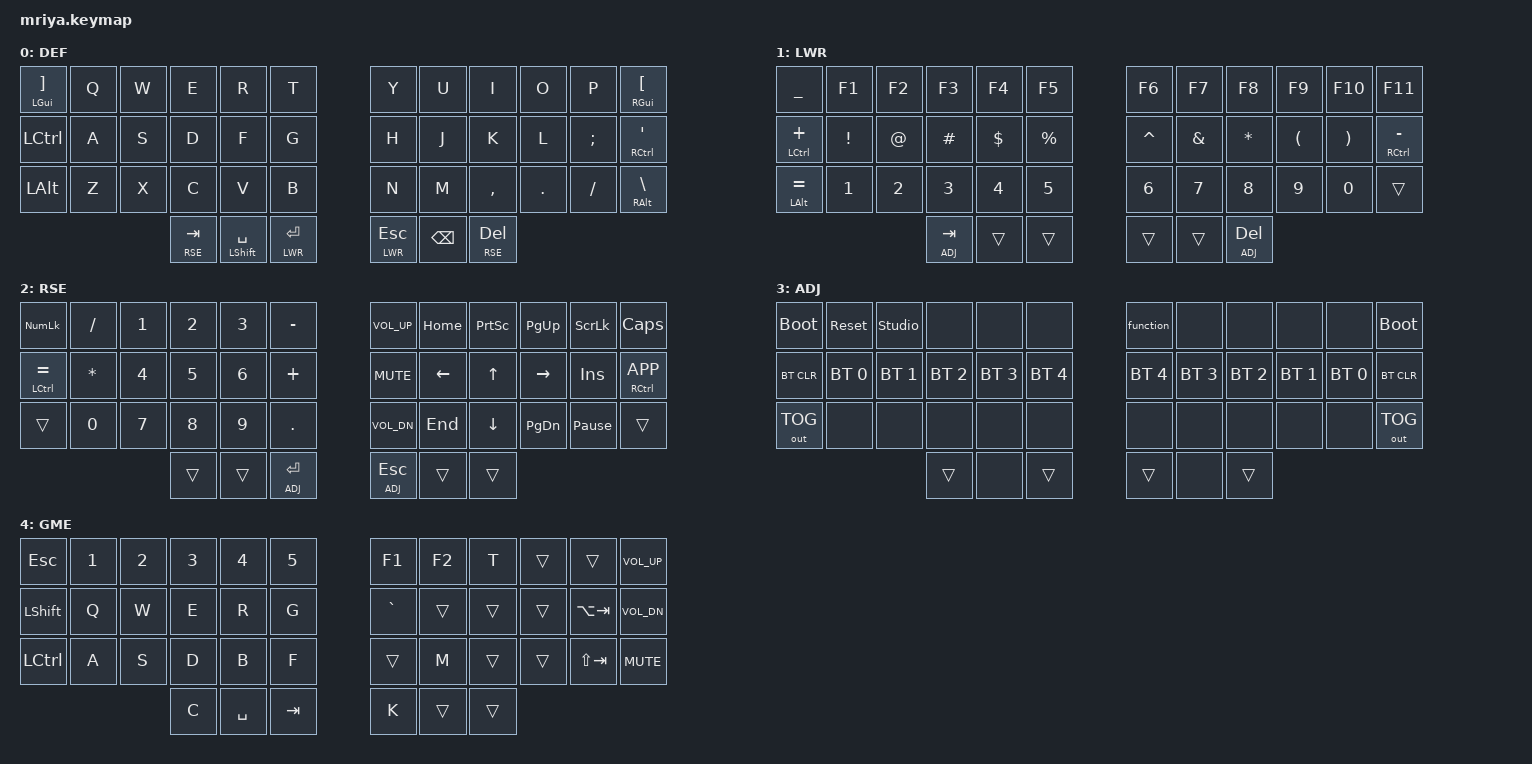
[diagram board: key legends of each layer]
/*
 * Copyright (c) 2020 The ZMK Contributors
 *
 * SPDX-License-Identifier: MIT
 */

#include <behaviors.dtsi>
#include <dt-bindings/zmk/bt.h>
#include <dt-bindings/zmk/keys.h>
#include <dt-bindings/zmk/outputs.h>

#define DEF 0
#define LWR 1
#define RSE 2
#define ADJ 3
#define GME 4

&lt {
    flavor = "balanced";
    tapping-term-ms = <220>;
    quick-tap-ms = <175>;
};

&mt {
    flavor = "balanced";
    tapping-term-ms = <280>;
    quick-tap-ms = <175>;
};

/ {
    combos {
        compatible = "zmk,combos";

        to_game_layer {
            bindings = <&to 4>;
            key-positions = <27 14>;
            layers = <0>;
        };

        to_default_layer {
            bindings = <&to 0>;
            key-positions = <15 3>;
            layers = <4>;
        };

        combo_delete {
            bindings = <&kp DEL>;
            key-positions = <37 38>;
            layers = <0>;
        };

        combo_backspace {
            bindings = <&kp BACKSPACE>;
            key-positions = <36 37>;
            layers = <0>;
        };

        combo_cs_mic {
            bindings = <&kp K>;
            key-positions = <37 38>;
            layers = <4>;
        };

        combo_copy {
            bindings = <&kp LC(C)>;
            key-positions = <2 3 4>;
            layers = <0>;
        };

        combo_paste {
            bindings = <&kp LC(V)>;
            key-positions = <2 4>;
            layers = <0>;
        };

        combo_cut {
            bindings = <&kp LC(X)>;
            key-positions = <2 3>;
            layers = <0>;
        };
    };
};

/ {
    macros {
        function: function {
            compatible = "zmk,behavior-macro";
            #binding-cells = <0>;
            bindings =
                <&kp SPACE &kp EQUAL &kp SPACE &kp LEFT_PARENTHESIS &kp RIGHT_ARROW &kp SPACE &kp EQUAL &kp GREATER_THAN &kp SPACE &kp LEFT_BRACE &kp ENTER>,
                <&macro_tap>;

            label = "FUNCTION";
        };
    };

    keymap {
        compatible = "zmk,keymap";

        base_layer {
            label = "DEF";
            bindings = <
&mt LEFT_GUI RIGHT_BRACKET  &kp Q  &kp W  &kp E  &kp R        &kp T                                      &kp Y          &kp U        &kp I      &kp O    &kp P     &mt RIGHT_GUI LEFT_BRACKET
&kp LCTRL                   &kp A  &kp S  &kp D  &kp F        &kp G                                      &kp H          &kp J        &kp K      &kp L    &kp SEMI  &mt RCTRL SQT
&kp LALT                    &kp Z  &kp X  &kp C  &kp V        &kp B                                      &kp N          &kp M        &kp COMMA  &kp DOT  &kp FSLH  &mt RALT BSLH
                                                 &lt RSE TAB  &mt LSHFT SPACE  &lt LWR RET  &lt LWR ESC  &kp BACKSPACE  &lt RSE DEL
            >;
        };

        lower_layer {
            label = "LWR";
            bindings = <
&kp UNDER       &kp F1    &kp F2  &kp F3    &kp F4       &kp F5                     &kp F6     &kp F7       &kp F8    &kp F9    &kp F10   &kp F11
&mt LCTRL PLUS  &kp EXCL  &kp AT  &kp HASH  &kp DLLR     &kp PRCNT                  &kp CARET  &kp AMPS     &kp STAR  &kp LPAR  &kp RPAR  &mt RCTRL MINUS
&mt LALT EQUAL  &kp N1    &kp N2  &kp N3    &kp N4       &kp N5                     &kp N6     &kp N7       &kp N8    &kp N9    &kp N0    &trans
                                            &lt ADJ TAB  &trans     &trans  &trans  &trans     &lt ADJ DEL
            >;
        };

        raise_layer {
            label = "RSE";
            bindings = <
&kp KP_NUM       &kp SLASH     &kp N1        &kp N2        &kp N3        &kp MINUS                             &kp C_VOL_UP  &kp HOME  &kp PSCRN  &kp PG_UP  &kp SLCK         &kp CAPS
&mt LCTRL EQUAL  &kp ASTERISK  &kp N4        &kp N5        &kp N6        &kp PLUS                              &kp C_MUTE    &kp LEFT  &kp UP     &kp RIGHT  &kp INS          &mt RCTRL K_APP
&trans           &kp NUMBER_0  &kp NUMBER_7  &kp NUMBER_8  &kp NUMBER_9  &kp PERIOD                            &kp C_VOL_DN  &kp END   &kp DOWN   &kp PG_DN  &kp PAUSE_BREAK  &trans
                                                           &trans        &trans      &lt ADJ RET  &lt ADJ ESC  &trans        &trans
            >;
        };

        adjust_layer {
            label = "ADJ";
            bindings = <
&bootloader   &sys_reset    &studio_unlock  &none         &none         &none                         &function     &none         &none         &none         &none         &bootloader
&bt BT_CLR    &bt BT_SEL 0  &bt BT_SEL 1    &bt BT_SEL 2  &bt BT_SEL 3  &bt BT_SEL 4                  &bt BT_SEL 4  &bt BT_SEL 3  &bt BT_SEL 2  &bt BT_SEL 1  &bt BT_SEL 0  &bt BT_CLR
&out OUT_TOG  &none         &none           &none         &none         &none                         &none         &none         &none         &none         &none         &out OUT_TOG
                                                          &trans        &none         &trans  &trans  &none         &trans
            >;
        };

        game_layer {
            label = "GME";
            bindings = <
&kp ESCAPE      &kp N1  &kp N2  &kp N3  &kp N4  &kp NUMBER_5                  &kp F1     &kp F2  &kp T   &trans  &trans       &kp C_VOLUME_UP
&kp LEFT_SHIFT  &kp Q   &kp W   &kp E   &kp R   &kp G                         &kp GRAVE  &trans  &trans  &trans  &kp LA(TAB)  &kp C_VOL_DN
&kp LCTRL       &kp A   &kp S   &kp D   &kp B   &kp F                         &trans     &kp M   &trans  &trans  &kp LS(TAB)  &kp K_MUTE
                                        &kp C   &kp SPACE     &kp TAB  &kp K  &trans     &trans
            >;
        };
    };
};
